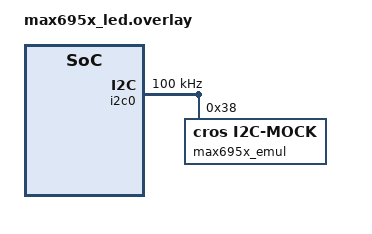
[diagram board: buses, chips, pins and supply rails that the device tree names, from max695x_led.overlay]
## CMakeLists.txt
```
# Copyright 2022 The ChromiumOS Authors
# Use of this source code is governed by a BSD-style license that can be
# found in the LICENSE file.

# Add include paths
target_include_directories(app PRIVATE
    "${PLATFORM_EC}/zephyr/shim/src/led_driver")

# Add source files
zephyr_library_sources_ifdef(CONFIG_LINK_TEST_SUITE_LED_DRIVER
    src/led_common.c
    src/led.c
    src/stubs.c
)
zephyr_library_sources_ifdef(CONFIG_LINK_TEST_SUITE_LED_DRIVER_ALIAS_LED
    src/led_alias.c
)
zephyr_library_sources_ifdef(CONFIG_LINK_TEST_SUITE_LED_DRIVER_CUSTOM
    src/led_custom.c
    src/stubs.c
)
zephyr_library_sources_ifdef(CONFIG_LINK_TEST_SUITE_LED_DRIVER_SEQUENCE
    src/led_sequence.c
    src/stubs.c
)
zephyr_library_sources_ifdef(CONFIG_LINK_TEST_SUITE_LED_DRIVER_MAX695X
    src/max695x_led_test_simple.c
    src/stubs.c
    ${PLATFORM_EC}/driver/led/max695x.c
)

# Define PORT80_I2C_ADDR for MAX695x testing
if(CONFIG_LINK_TEST_SUITE_LED_DRIVER_MAX695X)
    zephyr_compile_definitions(PORT80_I2C_ADDR=0x38)
endif()
```

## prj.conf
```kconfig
# Copyright 2026 The ChromiumOS Authors
# Use of this source code is governed by a BSD-style license that can be
# found in the LICENSE file.

# Configuration for MAX695x LED driver tests
CONFIG_PLATFORM_EC_MAX695X_SEVEN_SEGMENT_DISPLAY=y
# Console command enabled to test driver console functionality
CONFIG_PLATFORM_EC_CONSOLE_CMD_SEVEN_SEGMENT_DISPLAY=y
CONFIG_I2C=y
CONFIG_PLATFORM_EC_I2C=y
CONFIG_EMUL=y
CONFIG_I2C_EMUL=y
CONFIG_PLATFORM_EC_HOOKS=y
```

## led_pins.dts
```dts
<<<<<<< HEAD   (453fd99d5363bf9651b2fb0d3ffbbab7386a6376 program,zmake: drop cmsis references)
/* Copyright 2022 The ChromiumOS Authors
 * Use of this source code is governed by a BSD-style license that can be
 * found in the LICENSE file.
 */

 /* Based off of `ec/zephyr/program/herobrine/led_pins_herobrine.dts`
  * Modified led-colors to obtain better test coverage.
  */
/ {
	/delete-node/ pwm-led-pins;

	led_pins: gpio-led-pins {
		compatible = "cros-ec,gpio-led-pins";

		left_led: left-led {
			led-id = "EC_LED_ID_SYSRQ_DEBUG_LED";
			led-pins = <&gpio_ec_chg_led_y_c1
				    &gpio_ec_chg_led_w_c1>;

			sysrq_debug_led_off: color-off {
				led-color = "LED_OFF";
				led-values = <0 0>;
			};

			sysrq_debug_led_blue: color-blue-left {
				led-color = "LED_BLUE";
				led-values = <1 0>;
			};
			sysrq_debug_led_white: color-white-left {
				led-color = "LED_WHITE";
				led-values = <0 1>;
			};
		};

		right_led: right-led {
			led-id = "EC_LED_ID_BATTERY_LED";
			led-pins = <&gpio_ec_chg_led_y_c0
				    &gpio_ec_chg_led_w_c0>;

			battery_led_off: color-off {
				led-color = "LED_OFF";
				led-values = <0 0>;
			};
			battery_led_blue: color-blue-right {
				led-color = "LED_BLUE";
				led-values = <1 0>;
			};
			battery_led_white: color-white-right {
				led-color = "LED_WHITE";
				led-values = <0 1>;
			};
		};
	};
};
||||||| BASE   (0cb93ccd933607defa9592c423c9a9fb4946fd4d anakin: Set PDC source PDO overcurrent capability)
/* Copyright 2022 The ChromiumOS Authors
 * Use of this source code is governed by a BSD-style license that can be
 * found in the LICENSE file.
 */

 /* Based off of `ec/zephyr/program/herobrine/led_pins_herobrine.dts`
  * Modified led-colors to obtain better test coverage.
  */
/ {
	pwm-led-pins {
		status = "disabled";
	};

	gpio-led-pins {
		compatible = "cros-ec,gpio-led-pins";

		left_led: left-led {
			led-id = "EC_LED_ID_SYSRQ_DEBUG_LED";
			led-pins = <&gpio_ec_chg_led_y_c1
				    &gpio_ec_chg_led_w_c1>;

			color-off {
				led-color = "LED_OFF";
				led-values = <0 0>;
			};

			color_blue_left: color-blue-left {
				led-color = "LED_BLUE";
				led-values = <1 0>;
			};
			color_white_left: color-white-left {
				led-color = "LED_WHITE";
				led-values = <0 1>;
			};
		};

		right_led: right-led {
			led-id = "EC_LED_ID_BATTERY_LED";
			led-pins = <&gpio_ec_chg_led_y_c0
				    &gpio_ec_chg_led_w_c0>;

			color-off {
				led-color = "LED_OFF";
				led-values = <0 0>;
			};
			color_blue_right: color-blue-right {
				led-color = "LED_BLUE";
				led-values = <1 0>;
			};
			color_white_right: color-white-right {
				led-color = "LED_WHITE";
				led-values = <0 1>;
			};
		};
	};
};
=======
>>>>>>> BRANCH (86da3bbeafeffe5727f5bfec7d9eed87995f2661 UPSTREAM: driver: add new ALS CM36781 driver code)
```

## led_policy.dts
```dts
<<<<<<< HEAD   (453fd99d5363bf9651b2fb0d3ffbbab7386a6376 program,zmake: drop cmsis references)
/* Copyright 2022 The ChromiumOS Authors
 * Use of this source code is governed by a BSD-style license that can be
 * found in the LICENSE file.
 */

/* Based off of `ec/zephyr/program/brox/led_policy.dtsi`
 * Modified led-colors to obtain better test coverage.
 */

#include <dt-bindings/battery.h>

/ {
	led-colors {
		compatible = "cros-ec,led-policy";

		power-state-charge-right-with-alt-policy-1 {
			charge-state = "LED_PWRS_CHARGE";
			charge-port = <0>; /* Right port */
			batt-lvl = <BATTERY_LEVEL_EMPTY 99>;
			/* Battery is charging */
			batt-state-mask = <SB_STATUS_DISCHARGING>;
			batt-state = <0>;
			board-led-alt-policy-label = <1>;

			battery-led {
				led-id = "EC_LED_ID_BATTERY_LED";

				color-0 {
					led-color = <&battery_led_white>;
				};
			};
		};

		power-state-charge-right-with-alt-policy-0 {
			charge-state = "LED_PWRS_CHARGE";
			charge-port = <0>; /* Right port */
			batt-lvl = <BATTERY_LEVEL_EMPTY 99>;
			/* Battery is charging */
			batt-state-mask = <SB_STATUS_DISCHARGING>;
			batt-state = <0>;
			board-led-alt-policy-label = <0>;

			battery-led {
				led-id = "EC_LED_ID_BATTERY_LED";

				color-0 {
					led-color = <&battery_led_off>;
				};
			};
		};

		power-state-charge-right-full {
			charge-state = "LED_PWRS_CHARGE";
			charge-port = <0>; /* Right port */
			batt-lvl = <100 100>;
			/* Battery is charging */
			batt-state-mask = <SB_STATUS_DISCHARGING>;
			batt-state = <0>;

			battery-led {
				led-id = "EC_LED_ID_BATTERY_LED";

				color-0 {
					led-color = <&battery_led_blue>;
				};
			};
		};

		power-state-charge-left {
			charge-state = "LED_PWRS_CHARGE";
			charge-port = <1>; /* Left port */

			battery-led {
				led-id = "EC_LED_ID_BATTERY_LED";
				/* Blue 1 sec, White 1 sec */
				color-0 {
					led-color = <&battery_led_blue>;
					period-ms = <1000>;
				};
				color-1 {
					led-color = <&battery_led_white>;
					period-ms = <1000>;
				};
			};
		};

		power-state-near-full {
			charge-state = "LED_PWRS_CHARGE_NEAR_FULL";

			battery-led {
				led-id = "EC_LED_ID_BATTERY_LED";

				color-0 {
					led-color = <&battery_led_blue>;
				};
			};
		};

		power-state-discharge-valid {
			charge-state = "LED_PWRS_DISCHARGE";
			batt-lvl = <BATTERY_LEVEL_EMPTY 99>;
			/* Battery is discharging */
			batt-state-mask = <SB_STATUS_DISCHARGING>;
			batt-state = <SB_STATUS_DISCHARGING>;

			battery-led {
				led-id = "EC_LED_ID_BATTERY_LED";

				color-0 {
					led-color = <&battery_led_off>;
				};
			};
		};

		/* This policy is invalid and should never trigger*/
		power-state-discharge-invalid {
			charge-state = "LED_PWRS_DISCHARGE";
			batt-lvl = <100 100>;
			batt-state-mask = <SB_STATUS_DISCHARGING>;
			batt-state = <0>;

			battery-led {
				led-id = "EC_LED_ID_BATTERY_LED";

				color-0 {
					led-color = <&battery_led_blue>;
				};
			};
		};

		power-state-error-left-low {
			charge-state = "LED_PWRS_ERROR";
			charge-port = <1>; /* Left port */
			batt-lvl = <BATTERY_LEVEL_EMPTY BATTERY_LEVEL_LOW>;

			battery-led {
				led-id = "EC_LED_ID_BATTERY_LED";
				/* Blue 1 sec, White 1 sec */
				color-0 {
					led-color = <&battery_led_blue>;
					period-ms = <1000>;
				};
				color-1 {
					led-color = <&battery_led_white>;
					period-ms = <1000>;
				};
			};
		};

		power-state-error-left-high {
			charge-state = "LED_PWRS_ERROR";
			charge-port = <1>; /* Left port */
			batt-lvl = <(BATTERY_LEVEL_LOW + 1) BATTERY_LEVEL_FULL>;

			battery-led {
				led-id = "EC_LED_ID_BATTERY_LED";
				/* Blue 1 sec, White 1 sec */
				color-0 {
					led-color = <&battery_led_blue>;
					period-ms = <1000>;
				};
				color-1 {
					led-color = <&battery_led_white>;
					period-ms = <1000>;
				};
			};
		};

		power-state-error-right {
			charge-state = "LED_PWRS_ERROR";
			charge-port = <0>; /* Right port */
			/* Battery is charging */
			batt-state-mask = <SB_STATUS_DISCHARGING>;
			batt-state = <0>;

			battery-led {
				led-id = "EC_LED_ID_BATTERY_LED";
				/* Blue 1 sec, White 1 sec */
				color-0 {
					led-color = <&battery_led_blue>;
					period-ms = <1000>;
				};
				color-1 {
					led-color = <&battery_led_white>;
					period-ms = <1000>;
				};
			};
		};

		power-state-forced-idle {
			charge-state = "LED_PWRS_FORCED_IDLE";

			battery-led {
				led-id = "EC_LED_ID_BATTERY_LED";
				color-0 {
					led-color = <&battery_led_off>;
				};
			};
		};

		power-state-idle {
			charge-state = "LED_PWRS_IDLE";

			battery-led {
				led-id = "EC_LED_ID_BATTERY_LED";
				color-0 {
					led-color = <&battery_led_off>;
				};
			};
		};

		chipset-state-s0 {
			chipset-state = "POWER_S0";

			power-led {
				led-id = "EC_LED_ID_SYSRQ_DEBUG_LED";

				color-0 {
					led-color = <&sysrq_debug_led_blue>;
				};
			};
		};

		chipset-state-s3 {
			chipset-state = "POWER_S3";

			power-led {
				led-id = "EC_LED_ID_SYSRQ_DEBUG_LED";

				color-0 {
					led-color = <&sysrq_debug_led_white>;
				};
			};
		};

		chipset-state-s5 {
			chipset-state = "POWER_S5";

			power-led {
				led-id = "EC_LED_ID_SYSRQ_DEBUG_LED";

				color-0 {
					led-color = <&sysrq_debug_led_off>;
				};
			};
		};
	};
};
||||||| BASE   (0cb93ccd933607defa9592c423c9a9fb4946fd4d anakin: Set PDC source PDO overcurrent capability)
/* Copyright 2022 The ChromiumOS Authors
 * Use of this source code is governed by a BSD-style license that can be
 * found in the LICENSE file.
 */

/* Based off of `ec/zephyr/program/brox/led_policy.dtsi`
 * Modified led-colors to obtain better test coverage.
 */

#include <dt-bindings/battery.h>

/ {
	led-colors {
		compatible = "cros-ec,led-policy";

		power-state-charge-right-with-alt-policy-1 {
			charge-state = "LED_PWRS_CHARGE";
			charge-port = <0>; /* Right port */
			batt-lvl = <BATTERY_LEVEL_EMPTY 99>;
			/* Battery is charging */
			batt-state-mask = <SB_STATUS_DISCHARGING>;
			batt-state = <0>;
			board-led-alt-policy-label = <1>;

			battery-led {
				led-id = "EC_LED_ID_BATTERY_LED";

				color-0 {
					led-color = "LED_WHITE";
				};
			};
		};

		power-state-charge-right-with-alt-policy-0 {
			charge-state = "LED_PWRS_CHARGE";
			charge-port = <0>; /* Right port */
			batt-lvl = <BATTERY_LEVEL_EMPTY 99>;
			/* Battery is charging */
			batt-state-mask = <SB_STATUS_DISCHARGING>;
			batt-state = <0>;
			board-led-alt-policy-label = <0>;

			battery-led {
				led-id = "EC_LED_ID_BATTERY_LED";

				color-0 {
					led-color = "LED_OFF";
				};
			};
		};

		power-state-charge-right-full {
			charge-state = "LED_PWRS_CHARGE";
			charge-port = <0>; /* Right port */
			batt-lvl = <100 100>;
			/* Battery is charging */
			batt-state-mask = <SB_STATUS_DISCHARGING>;
			batt-state = <0>;

			battery-led {
				led-id = "EC_LED_ID_BATTERY_LED";

				color-0 {
					led-color = "LED_BLUE";
				};
			};
		};

		power-state-charge-left {
			charge-state = "LED_PWRS_CHARGE";
			charge-port = <1>; /* Left port */

			battery-led {
				led-id = "EC_LED_ID_BATTERY_LED";
				/* Blue 1 sec, White 1 sec */
				color-0 {
					led-color = "LED_BLUE";
					period-ms = <1000>;
				};
				color-1 {
					led-color = "LED_WHITE";
					period-ms = <1000>;
				};
			};
		};

		power-state-near-full {
			charge-state = "LED_PWRS_CHARGE_NEAR_FULL";

			battery-led {
				led-id = "EC_LED_ID_BATTERY_LED";

				color-0 {
					led-color = "LED_BLUE";
				};
			};
		};

		power-state-discharge-valid {
			charge-state = "LED_PWRS_DISCHARGE";
			batt-lvl = <BATTERY_LEVEL_EMPTY 99>;
			/* Battery is discharging */
			batt-state-mask = <SB_STATUS_DISCHARGING>;
			batt-state = <SB_STATUS_DISCHARGING>;

			battery-led {
				led-id = "EC_LED_ID_BATTERY_LED";

				color-0 {
					led-color = "LED_OFF";
				};
			};
		};

		/* This policy is invalid and should never trigger*/
		power-state-discharge-invalid {
			charge-state = "LED_PWRS_DISCHARGE";
			batt-lvl = <100 100>;
			batt-state-mask = <SB_STATUS_DISCHARGING>;
			batt-state = <0>;

			battery-led {
				led-id = "EC_LED_ID_BATTERY_LED";

				color-0 {
					led-color = "LED_BLUE";
				};
			};
		};

		power-state-error-left-low {
			charge-state = "LED_PWRS_ERROR";
			charge-port = <1>; /* Left port */
			batt-lvl = <BATTERY_LEVEL_EMPTY BATTERY_LEVEL_LOW>;

			battery-led {
				led-id = "EC_LED_ID_BATTERY_LED";
				/* Blue 1 sec, White 1 sec */
				color-0 {
					led-color = "LED_BLUE";
					period-ms = <1000>;
				};
				color-1 {
					led-color = "LED_WHITE";
					period-ms = <1000>;
				};
			};
		};

		power-state-error-left-high {
			charge-state = "LED_PWRS_ERROR";
			charge-port = <1>; /* Left port */
			batt-lvl = <(BATTERY_LEVEL_LOW + 1) BATTERY_LEVEL_FULL>;

			battery-led {
				led-id = "EC_LED_ID_BATTERY_LED";
				/* Blue 1 sec, White 1 sec */
				color-0 {
					led-color = "LED_BLUE";
					period-ms = <1000>;
				};
				color-1 {
					led-color = "LED_WHITE";
					period-ms = <1000>;
				};
			};
		};

		power-state-error-right {
			charge-state = "LED_PWRS_ERROR";
			charge-port = <0>; /* Right port */
			/* Battery is charging */
			batt-state-mask = <SB_STATUS_DISCHARGING>;
			batt-state = <0>;

			battery-led {
				led-id = "EC_LED_ID_BATTERY_LED";
				/* Blue 1 sec, White 1 sec */
				color-0 {
					led-color = "LED_BLUE";
					period-ms = <1000>;
				};
				color-1 {
					led-color = "LED_WHITE";
					period-ms = <1000>;
				};
			};
		};

		power-state-forced-idle {
			charge-state = "LED_PWRS_FORCED_IDLE";

			battery-led {
				led-id = "EC_LED_ID_BATTERY_LED";
				color-0 {
					led-color = "LED_OFF";
				};
			};
		};

		power-state-idle {
			charge-state = "LED_PWRS_IDLE";

			battery-led {
				led-id = "EC_LED_ID_BATTERY_LED";
				color-0 {
					led-color = "LED_OFF";
				};
			};
		};

		chipset-state-s0 {
			chipset-state = "POWER_S0";

			power-led {
				led-id = "EC_LED_ID_SYSRQ_DEBUG_LED";

				color-0 {
					led-color = "LED_BLUE";
				};
			};
		};

		chipset-state-s3 {
			chipset-state = "POWER_S3";

			power-led {
				led-id = "EC_LED_ID_SYSRQ_DEBUG_LED";

				color-0 {
					led-color = "LED_WHITE";
				};
			};
		};

		chipset-state-s5 {
			chipset-state = "POWER_S5";

			power-led {
				led-id = "EC_LED_ID_SYSRQ_DEBUG_LED";

				color-0 {
					led-color = "LED_OFF";
				};
			};
		};
	};
};
=======
>>>>>>> BRANCH (86da3bbeafeffe5727f5bfec7d9eed87995f2661 UPSTREAM: driver: add new ALS CM36781 driver code)
```

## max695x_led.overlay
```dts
/* Copyright 2026 The ChromiumOS Authors
 * Use of this source code is governed by a BSD-style license that can be
 * found in the LICENSE file.
 *
 * Device tree overlay for MAX695x 7-segment LED display tests
 */

/ {
	named-i2c-ports {
		compatible = "named-i2c-ports";
		i2c_port80: port80 {
			i2c-port = <&i2c0>;
			enum-names = "I2C_PORT_PORT80";
		};
	};
};

&i2c0 {
	status = "okay";
	clock-frequency = <I2C_BITRATE_STANDARD>;

	max695x_emul: max695x@38 {
		compatible = "cros,i2c-mock";
		status = "okay";
		reg = <0x38>;
	};
};
```

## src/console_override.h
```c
/* Copyright 2026 The ChromiumOS Authors
 * Use of this source code is governed by a BSD-style license that can be
 * found in the LICENSE file.
 */

/*
 * Console command signature compatibility header
 * This header provides a workaround for the signature mismatch between
 * the driver's console command function and the DECLARE_CONSOLE_COMMAND
 * macro. The driver function has: int console_command_max695x_write
 * (int argc, char **argv). But DECLARE_CONSOLE_COMMAND expects:
 * int (*)(int argc, const char **argv).
 * Override the macro to create a wrapper that handles the signature
 * mismatch.
 */

#ifndef CONSOLE_OVERRIDE_H_
#define CONSOLE_OVERRIDE_H_
/* Include the original zephyr console shim header first */
#include "zephyr_console_shim.h"

/* Save the original macro definition */
#ifdef DECLARE_CONSOLE_COMMAND
#undef DECLARE_CONSOLE_COMMAND
#endif

/*
 * Define a test-friendly version that creates a wrapper for signature
 * mismatch
 */
#define DECLARE_CONSOLE_COMMAND(NAME, ROUTINE, ARGDESC, HELP)                  \
	/* Create wrapper function to handle signature mismatch */             \
	static int _CONCAT(wrapper_, ROUTINE)(int argc, const char **argv)     \
	{                                                                      \
		/* Cast const char** to char** for old signature compatibility \
		 */                                                            \
		return ROUTINE(argc, (char **)argv);                           \
	}                                                                      \
	/* Use the wrapper in the Zephyr shell command registration */         \
	_ZEPHYR_SHELL_COMMAND_SHIM(NAME, _CONCAT(wrapper_, ROUTINE), ARGDESC,  \
				   HELP)

#endif /* CONSOLE_OVERRIDE_H_ */
```

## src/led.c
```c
<<<<<<< HEAD   (453fd99d5363bf9651b2fb0d3ffbbab7386a6376 program,zmake: drop cmsis references)
/* Copyright 2022 The ChromiumOS Authors
 * Use of this source code is governed by a BSD-style license that can be
 * found in the LICENSE file.
 */

#include "battery_smart.h"
#include "drivers/led.h"
#include "ec_commands.h"
#include "emul/emul_isl923x.h"
#include "emul/emul_smart_battery.h"
#include "emul/tcpc/emul_tcpci_partner_src.h"
#include "gpio.h"
#include "include/power.h"
#include "led_common.h"
#include "test/drivers/test_state.h"
#include "test/drivers/utils.h"
#include "usb_pd.h"

#include <zephyr/ztest.h>

#include <dt-bindings/battery.h>

#define BATTERY_NODE DT_NODELABEL(battery)

#define VERIFY_LED_COLOR(color, led_id)                                    \
	{                                                                  \
		const struct led_pins_node_t *pin_node =                   \
			led_get_node(color, led_id);                       \
		const struct gpio_pin_t *gpio_pins =                       \
			(const struct gpio_pin_t *)pin_node->pins;         \
		for (int j = 0; j < pin_node->pins_count; j++) {           \
			int val = gpio_pin_get_dt(                         \
				gpio_get_dt_spec(gpio_pins[j].signal));    \
			int expecting = gpio_pins[j].val;                  \
			zassert_equal(expecting, val, "[%d]: %d != %d", j, \
				      expecting, val);                     \
		}                                                          \
	}

ZTEST(led_driver, test_led_control)
{
	test_set_chipset_to_power_level(POWER_S5);

	/* Exercise valid led_id, set to RESET state */
	led_control(EC_LED_ID_SYSRQ_DEBUG_LED, LED_STATE_RESET);
	VERIFY_LED_COLOR(LED_OFF, EC_LED_ID_SYSRQ_DEBUG_LED);

	/* Exercise valid led_id, set to OFF state.
	 * Verify matches OFF color defined in device tree
	 */
	led_control(EC_LED_ID_SYSRQ_DEBUG_LED, LED_STATE_OFF);
	VERIFY_LED_COLOR(LED_OFF, EC_LED_ID_SYSRQ_DEBUG_LED);

	/* Exercise valid led_id, set to ON state.
	 * Verify matches ON color defined in device tree
	 */
	led_control(EC_LED_ID_SYSRQ_DEBUG_LED, LED_STATE_ON);
	VERIFY_LED_COLOR(LED_BLUE, EC_LED_ID_SYSRQ_DEBUG_LED);

	/* Exercise invalid led_id -- no change to led color */
	led_control(EC_LED_ID_LEFT_LED, LED_STATE_RESET);
	VERIFY_LED_COLOR(LED_BLUE, EC_LED_ID_SYSRQ_DEBUG_LED);
}

ZTEST(led_driver, test_led_brightness)
{
	uint8_t brightness[EC_LED_COLOR_COUNT] = { -1 };

	/* Verify LED set to OFF */
	led_set_brightness(EC_LED_ID_SYSRQ_DEBUG_LED, brightness);
	VERIFY_LED_COLOR(LED_OFF, EC_LED_ID_SYSRQ_DEBUG_LED);

	/* Verify LED colors defined in device tree are reflected in the
	 * brightness array.
	 */
	led_get_brightness_range(EC_LED_ID_SYSRQ_DEBUG_LED, brightness);
	zassert_equal(brightness[EC_LED_COLOR_BLUE], 1);
	zassert_equal(brightness[EC_LED_COLOR_WHITE], 1);

	/* Verify LED set to WHITE */
	led_set_brightness(EC_LED_ID_SYSRQ_DEBUG_LED, brightness);
	VERIFY_LED_COLOR(LED_WHITE, EC_LED_ID_SYSRQ_DEBUG_LED);
}

ZTEST(led_driver, test_get_chipset_state)
{
	enum power_state pwr_state;

	test_set_chipset_to_g3();
	pwr_state = get_chipset_state();
	zassert_equal(pwr_state, POWER_S5, "expected=%d, returned=%d", POWER_S5,
		      pwr_state);

	test_set_chipset_to_s0();
	pwr_state = get_chipset_state();
	zassert_equal(pwr_state, POWER_S0, "expected=%d, returned=%d", POWER_S0,
		      pwr_state);

	test_set_chipset_to_power_level(POWER_S3);
	pwr_state = get_chipset_state();
	zassert_equal(pwr_state, POWER_S3, "expected=%d, returned=%d", POWER_S3,
		      pwr_state);
}

ZTEST(led_driver, test_separated_led_policies)
{
	led_auto_control(EC_LED_ID_SYSRQ_DEBUG_LED, 1);
	led_auto_control(EC_LED_ID_BATTERY_LED, 1);

	set_ac_enabled(false);
	test_set_chipset_to_power_level(POWER_S0);
	VERIFY_LED_COLOR(LED_BLUE, EC_LED_ID_SYSRQ_DEBUG_LED);
	VERIFY_LED_COLOR(LED_OFF, EC_LED_ID_BATTERY_LED);

	test_set_chipset_to_power_level(POWER_S3);
	VERIFY_LED_COLOR(LED_WHITE, EC_LED_ID_SYSRQ_DEBUG_LED);
	VERIFY_LED_COLOR(LED_OFF, EC_LED_ID_BATTERY_LED);

	test_set_chipset_to_power_level(POWER_S5);
	VERIFY_LED_COLOR(LED_OFF, EC_LED_ID_SYSRQ_DEBUG_LED);
	VERIFY_LED_COLOR(LED_OFF, EC_LED_ID_BATTERY_LED);

	set_ac_enabled(true);
	test_set_chipset_to_power_level(POWER_S0);
	VERIFY_LED_COLOR(LED_BLUE, EC_LED_ID_SYSRQ_DEBUG_LED);
	VERIFY_LED_COLOR(LED_WHITE, EC_LED_ID_BATTERY_LED);

	test_set_chipset_to_power_level(POWER_S3);
	VERIFY_LED_COLOR(LED_WHITE, EC_LED_ID_SYSRQ_DEBUG_LED);
	VERIFY_LED_COLOR(LED_WHITE, EC_LED_ID_BATTERY_LED);

	test_set_chipset_to_power_level(POWER_S5);
	VERIFY_LED_COLOR(LED_OFF, EC_LED_ID_SYSRQ_DEBUG_LED);
	VERIFY_LED_COLOR(LED_WHITE, EC_LED_ID_BATTERY_LED);
}

struct led_driver_fixture {
	struct tcpci_partner_data source_20v_3a;
	struct tcpci_src_emul_data src_ext;
	const struct emul *tcpci_emul;
	const struct emul *charger_emul;
};

static inline void connect_charger_to_port(struct led_driver_fixture *fixture)
{
	set_ac_enabled(true);
	zassert_ok(tcpci_partner_connect_to_tcpci(&fixture->source_20v_3a,
						  fixture->tcpci_emul),
		   NULL);
	isl923x_emul_set_adc_vbus(fixture->charger_emul,
				  PDO_FIXED_VOLTAGE(fixture->src_ext.pdo[1]));
	k_sleep(K_SECONDS(10));
}

static inline void
disconnect_charger_from_port(struct led_driver_fixture *fixture)
{
	set_ac_enabled(false);
	zassert_ok(tcpci_emul_disconnect_partner(fixture->tcpci_emul));
	isl923x_emul_set_adc_vbus(fixture->charger_emul, 0);
	k_sleep(K_SECONDS(1));
}

static void *led_driver_setup(void)
{
	static struct led_driver_fixture fixture;

	/* Get references for the emulators */
	fixture.tcpci_emul = EMUL_GET_USBC_BINDING(0, tcpc);
	fixture.charger_emul = EMUL_GET_USBC_BINDING(0, chg);

	/* Initialized the source to supply 20V and 3A */
	tcpci_partner_init(&fixture.source_20v_3a, PD_REV20);
	fixture.source_20v_3a.extensions = tcpci_src_emul_init(
		&fixture.src_ext, &fixture.source_20v_3a, NULL);
	fixture.src_ext.pdo[1] =
		PDO_FIXED(20000, 3000, PDO_FIXED_UNCONSTRAINED);

	return &fixture;
}

static void led_driver_before(void *data)
{
	connect_charger_to_port((struct led_driver_fixture *)data);
}

static void led_driver_after(void *data)
{
	disconnect_charger_from_port((struct led_driver_fixture *)data);
}

ZTEST_SUITE(led_driver, drivers_predicate_post_main, led_driver_setup,
	    led_driver_before, led_driver_after, NULL);

ZTEST(led_driver, test_get_battery_state)
{
	const struct emul *emul = EMUL_DT_GET(BATTERY_NODE);
	uint16_t battery_status;

	zassert_ok(sbat_emul_get_word_val(emul, SB_BATTERY_STATUS,
					  &battery_status),
		   NULL);
	zassert_equal(battery_status & SB_STATUS_DISCHARGING, 0,
		      "Battery is discharging: %d", battery_status);
}
||||||| BASE   (0cb93ccd933607defa9592c423c9a9fb4946fd4d anakin: Set PDC source PDO overcurrent capability)
/* Copyright 2022 The ChromiumOS Authors
 * Use of this source code is governed by a BSD-style license that can be
 * found in the LICENSE file.
 */

#include "battery_smart.h"
#include "ec_commands.h"
#include "emul/emul_isl923x.h"
#include "emul/emul_smart_battery.h"
#include "emul/tcpc/emul_tcpci_partner_src.h"
#include "gpio.h"
#include "include/power.h"
#include "led.h"
#include "led_common.h"
#include "test/drivers/test_state.h"
#include "test/drivers/utils.h"
#include "usb_pd.h"

#include <zephyr/ztest.h>

#include <dt-bindings/battery.h>

#define BATTERY_NODE DT_NODELABEL(battery)

#define VERIFY_LED_COLOR(color, led_id)                                    \
	{                                                                  \
		const struct led_pins_node_t *pin_node =                   \
			led_get_node(color, led_id);                       \
		for (int j = 0; j < pin_node->pins_count; j++) {           \
			int val = gpio_pin_get_dt(gpio_get_dt_spec(        \
				pin_node->gpio_pins[j].signal));           \
			int expecting = pin_node->gpio_pins[j].val;        \
			zassert_equal(expecting, val, "[%d]: %d != %d", j, \
				      expecting, val);                     \
		}                                                          \
	}

ZTEST(led_driver, test_led_control)
{
	test_set_chipset_to_power_level(POWER_S5);

	/* Exercise valid led_id, set to RESET state */
	led_control(EC_LED_ID_SYSRQ_DEBUG_LED, LED_STATE_RESET);
	VERIFY_LED_COLOR(LED_OFF, EC_LED_ID_SYSRQ_DEBUG_LED);

	/* Exercise valid led_id, set to OFF state.
	 * Verify matches OFF color defined in device tree
	 */
	led_control(EC_LED_ID_SYSRQ_DEBUG_LED, LED_STATE_OFF);
	VERIFY_LED_COLOR(LED_OFF, EC_LED_ID_SYSRQ_DEBUG_LED);

	/* Exercise valid led_id, set to ON state.
	 * Verify matches ON color defined in device tree
	 */
	led_control(EC_LED_ID_SYSRQ_DEBUG_LED, LED_STATE_ON);
	VERIFY_LED_COLOR(LED_BLUE, EC_LED_ID_SYSRQ_DEBUG_LED);

	/* Exercise invalid led_id -- no change to led color */
	led_control(EC_LED_ID_LEFT_LED, LED_STATE_RESET);
	VERIFY_LED_COLOR(LED_BLUE, EC_LED_ID_SYSRQ_DEBUG_LED);
}

ZTEST(led_driver, test_led_brightness)
{
	uint8_t brightness[EC_LED_COLOR_COUNT] = { -1 };

	/* Verify LED set to OFF */
	led_set_brightness(EC_LED_ID_SYSRQ_DEBUG_LED, brightness);
	VERIFY_LED_COLOR(LED_OFF, EC_LED_ID_SYSRQ_DEBUG_LED);

	/* Verify LED colors defined in device tree are reflected in the
	 * brightness array.
	 */
	led_get_brightness_range(EC_LED_ID_SYSRQ_DEBUG_LED, brightness);
	zassert_equal(brightness[EC_LED_COLOR_BLUE], 1);
	zassert_equal(brightness[EC_LED_COLOR_WHITE], 1);

	/* Verify LED set to WHITE */
	led_set_brightness(EC_LED_ID_SYSRQ_DEBUG_LED, brightness);
	VERIFY_LED_COLOR(LED_WHITE, EC_LED_ID_SYSRQ_DEBUG_LED);
}

ZTEST(led_driver, test_get_chipset_state)
{
	enum power_state pwr_state;

	test_set_chipset_to_g3();
	pwr_state = get_chipset_state();
	zassert_equal(pwr_state, POWER_S5, "expected=%d, returned=%d", POWER_S5,
		      pwr_state);

	test_set_chipset_to_s0();
	pwr_state = get_chipset_state();
	zassert_equal(pwr_state, POWER_S0, "expected=%d, returned=%d", POWER_S0,
		      pwr_state);

	test_set_chipset_to_power_level(POWER_S3);
	pwr_state = get_chipset_state();
	zassert_equal(pwr_state, POWER_S3, "expected=%d, returned=%d", POWER_S3,
		      pwr_state);
}

ZTEST(led_driver, test_separated_led_policies)
{
	led_auto_control(EC_LED_ID_SYSRQ_DEBUG_LED, 1);
	led_auto_control(EC_LED_ID_BATTERY_LED, 1);

	set_ac_enabled(false);
	test_set_chipset_to_power_level(POWER_S0);
	VERIFY_LED_COLOR(LED_BLUE, EC_LED_ID_SYSRQ_DEBUG_LED);
	VERIFY_LED_COLOR(LED_OFF, EC_LED_ID_BATTERY_LED);

	test_set_chipset_to_power_level(POWER_S3);
	VERIFY_LED_COLOR(LED_WHITE, EC_LED_ID_SYSRQ_DEBUG_LED);
	VERIFY_LED_COLOR(LED_OFF, EC_LED_ID_BATTERY_LED);

	test_set_chipset_to_power_level(POWER_S5);
	VERIFY_LED_COLOR(LED_OFF, EC_LED_ID_SYSRQ_DEBUG_LED);
	VERIFY_LED_COLOR(LED_OFF, EC_LED_ID_BATTERY_LED);

	set_ac_enabled(true);
	test_set_chipset_to_power_level(POWER_S0);
	VERIFY_LED_COLOR(LED_BLUE, EC_LED_ID_SYSRQ_DEBUG_LED);
	VERIFY_LED_COLOR(LED_WHITE, EC_LED_ID_BATTERY_LED);

	test_set_chipset_to_power_level(POWER_S3);
	VERIFY_LED_COLOR(LED_WHITE, EC_LED_ID_SYSRQ_DEBUG_LED);
	VERIFY_LED_COLOR(LED_WHITE, EC_LED_ID_BATTERY_LED);

	test_set_chipset_to_power_level(POWER_S5);
	VERIFY_LED_COLOR(LED_OFF, EC_LED_ID_SYSRQ_DEBUG_LED);
	VERIFY_LED_COLOR(LED_WHITE, EC_LED_ID_BATTERY_LED);
}

struct led_driver_fixture {
	struct tcpci_partner_data source_20v_3a;
	struct tcpci_src_emul_data src_ext;
	const struct emul *tcpci_emul;
	const struct emul *charger_emul;
};

static inline void connect_charger_to_port(struct led_driver_fixture *fixture)
{
	set_ac_enabled(true);
	zassert_ok(tcpci_partner_connect_to_tcpci(&fixture->source_20v_3a,
						  fixture->tcpci_emul),
		   NULL);
	isl923x_emul_set_adc_vbus(fixture->charger_emul,
				  PDO_FIXED_VOLTAGE(fixture->src_ext.pdo[1]));
	k_sleep(K_SECONDS(10));
}

static inline void
disconnect_charger_from_port(struct led_driver_fixture *fixture)
{
	set_ac_enabled(false);
	zassert_ok(tcpci_emul_disconnect_partner(fixture->tcpci_emul));
	isl923x_emul_set_adc_vbus(fixture->charger_emul, 0);
	k_sleep(K_SECONDS(1));
}

static void *led_driver_setup(void)
{
	static struct led_driver_fixture fixture;

	/* Get references for the emulators */
	fixture.tcpci_emul = EMUL_GET_USBC_BINDING(0, tcpc);
	fixture.charger_emul = EMUL_GET_USBC_BINDING(0, chg);

	/* Initialized the source to supply 20V and 3A */
	tcpci_partner_init(&fixture.source_20v_3a, PD_REV20);
	fixture.source_20v_3a.extensions = tcpci_src_emul_init(
		&fixture.src_ext, &fixture.source_20v_3a, NULL);
	fixture.src_ext.pdo[1] =
		PDO_FIXED(20000, 3000, PDO_FIXED_UNCONSTRAINED);

	return &fixture;
}

static void led_driver_before(void *data)
{
	connect_charger_to_port((struct led_driver_fixture *)data);
}

static void led_driver_after(void *data)
{
	disconnect_charger_from_port((struct led_driver_fixture *)data);
}

ZTEST_SUITE(led_driver, drivers_predicate_post_main, led_driver_setup,
	    led_driver_before, led_driver_after, NULL);

ZTEST(led_driver, test_get_battery_state)
{
	const struct emul *emul = EMUL_DT_GET(BATTERY_NODE);
	uint16_t battery_status;

	zassert_ok(sbat_emul_get_word_val(emul, SB_BATTERY_STATUS,
					  &battery_status),
		   NULL);
	zassert_equal(battery_status & SB_STATUS_DISCHARGING, 0,
		      "Battery is discharging: %d", battery_status);
}
=======
>>>>>>> BRANCH (86da3bbeafeffe5727f5bfec7d9eed87995f2661 UPSTREAM: driver: add new ALS CM36781 driver code)
```

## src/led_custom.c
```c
/* Copyright 2026 The ChromiumOS Authors
 * Use of this source code is governed by a BSD-style license that can be
 * found in the LICENSE file.
 */

#include "drivers/led.h"
#include "gpio.h"
#include "hooks.h"
#include "led_common.h"
#include "test/drivers/test_state.h"
#include "test/drivers/utils.h"

#include <zephyr/ztest.h>

extern uint32_t led_test_apply_count;

void set_board_led_alt_policy(int label);

static void *led_custom_setup(void)
{
	/* Allow init time to settle */
	k_sleep(K_MSEC(1000));

	return NULL;
}

static bool is_blue_on(void)
{
	return gpio_pin_get_dt(GPIO_DT_FROM_NODELABEL(gpio_ec_chg_led_y_c0));
}

static bool is_white_on(void)
{
	return gpio_pin_get_dt(GPIO_DT_FROM_NODELABEL(gpio_ec_chg_led_w_c0));
}

static bool is_off(void)
{
	return !is_blue_on() && !is_white_on();
}

static void led_custom_before(void *data)
{
	/* Reset to a known state (White) */
	set_board_led_alt_policy(1);
	led_control(EC_LED_ID_BATTERY_LED, LED_STATE_RESET);
	led_set_custom_patterns(NULL);
	led_test_apply_count = 0;

	/* Run one tick to apply the reset state */
	hook_notify(HOOK_TICK);
	k_sleep(K_MSEC(30));
	zassert_true(is_white_on(), "Setup failed: LED should be White");
}

ZTEST_SUITE(led_driver_custom, drivers_predicate_post_main, led_custom_setup,
	    led_custom_before, NULL, NULL);

/*
 * Test that a custom pattern overrides the standard policy immediately.
 */
ZTEST(led_driver_custom, test_custom_override)
{
	/* Define a custom pattern: Solid Blue, infinite */
	const struct led_pins_node_t *blue_node =
		led_get_node(LED_BLUE, EC_LED_ID_BATTERY_LED);
	zassert_not_null(blue_node, "Could not find Blue node for Battery LED");

	struct pattern_color_node_t color_step = {
		.color_idx = blue_node->color_idx,
		.duration_ms = 1000,
	};

	struct led_pattern_node_t pattern = {
		.led_id = EC_LED_ID_BATTERY_LED,
		.pattern_color = &color_step,
		.pattern_len = 1,
		.cycle_limit = 0, /* Infinite */
		.transition = LED_TRANSITION_STEP,
	};

	struct custom_led_patterns_t custom = {
		.led_patterns = &pattern,
		.num_patterns = 1,
		.led_id = EC_LED_ID_BATTERY_LED,
	};

	/* Apply custom pattern */
	led_set_custom_patterns(&custom);

	/* Allow worker to run */
	k_sleep(K_MSEC(30));

	/* Verify Blue (Custom) overrides White (Policy) */
	zassert_true(is_blue_on(), "Custom pattern did not take effect");
	zassert_false(is_white_on(), "Standard policy should be skipped");

	/* Clear custom pattern */
	led_set_custom_patterns(NULL);

	/* Allow worker to run */
	k_sleep(K_MSEC(30));

	/* Verify return to White */
	zassert_true(is_white_on(), "Should revert to standard policy");
}

/*
 * Test auto reversion after cycle limit.
 */
ZTEST(led_driver_custom, test_custom_auto_revert)
{
	const struct led_pins_node_t *blue_node =
		led_get_node(LED_BLUE, EC_LED_ID_BATTERY_LED);
	const struct led_pins_node_t *off_node =
		led_get_node(LED_OFF, EC_LED_ID_BATTERY_LED);

	struct pattern_color_node_t steps[] = {
		{ .color_idx = blue_node->color_idx, .duration_ms = 100 },
		{ .color_idx = off_node->color_idx, .duration_ms = 100 },
	};

	struct led_pattern_node_t pattern = {
		.led_id = EC_LED_ID_BATTERY_LED,
		.pattern_color = steps,
		.pattern_len = 2,
		.cycle_limit = 1, /* Run once then stop */
		.transition = LED_TRANSITION_STEP,
	};

	struct custom_led_patterns_t custom = {
		.led_patterns = &pattern,
		.num_patterns = 1,
		.led_id = EC_LED_ID_BATTERY_LED,
	};

	/* Apply custom pattern */
	led_set_custom_patterns(&custom);

	/* T=0-100ms: Blue */
	k_sleep(K_MSEC(30));
	zassert_true(is_blue_on(), "Custom pattern step 1 (Blue) failed");

	/* T=100-200ms: Off */
	k_sleep(K_MSEC(100));
	zassert_true(is_off(), "Custom pattern step 2 (Off) failed");

	/* T>200ms: Finished. Should revert to standard policy (White) */
	k_sleep(K_MSEC(130));

	zassert_true(is_white_on(), "Did not revert to standard policy");
}

/*
 * Test that a custom pattern for an LED not managed by the driver is ignored.
 */
ZTEST(led_driver_custom, test_custom_unsupported_led)
{
	const struct led_pins_node_t *blue_node =
		led_get_node(LED_BLUE, EC_LED_ID_BATTERY_LED);

	struct pattern_color_node_t color_step = {
		.color_idx = blue_node->color_idx,
		.duration_ms = 1000,
	};

	struct led_pattern_node_t pattern = {
		.pattern_color = &color_step,
		.pattern_len = 1,
		.cycle_limit = 0,
		.transition = LED_TRANSITION_STEP,
	};

	struct custom_led_patterns_t custom = {
		.led_id = EC_LED_ID_POWER_LED,
		.led_patterns = &pattern,
		.num_patterns = 1,
		.led_id = EC_LED_ID_POWER_LED, /* Unsupported LED */
	};

	/* Apply custom pattern */
	led_set_custom_patterns(&custom);

	/* Trigger Tick */
	hook_notify(HOOK_TICK);
	k_sleep(K_MSEC(30));

	/*
	 * If the mask check failed (bug), the driver would execute the pattern
	 * using blue_node (which points to Battery LED pins) and turn it Blue.
	 * If the mask check works (correct), the pattern is skipped, and
	 * standard policy (White) remains.
	 */
	zassert_true(is_white_on(), "Standard policy should remain active");
}

/*
 * Test that manual control.
 */
ZTEST(led_driver_custom, test_manual_control)
{
	/* Initialize the LED to the OFF state. */
	set_board_led_alt_policy(7);
	hook_notify(HOOK_TICK);
	k_sleep(K_MSEC(30));

	zassert_true(is_off(), "LED intially should be in the off state");

	const struct led_pins_node_t *blue_node =
		led_get_node(LED_BLUE, EC_LED_ID_BATTERY_LED);
	const struct led_pins_node_t *white_node =
		led_get_node(LED_WHITE, EC_LED_ID_BATTERY_LED);

	/* Define custom pattern: Blue (500ms) -> White (500ms) */
	struct pattern_color_node_t steps[] = {
		{ .color_idx = blue_node->color_idx, .duration_ms = 500 },
		{ .color_idx = white_node->color_idx, .duration_ms = 500 },
	};
	struct led_pattern_node_t pattern = {

		.pattern_color = steps,
		.pattern_len = 2,
		.cycle_limit = 0,
		.transition = LED_TRANSITION_STEP,
	};
	struct custom_led_patterns_t custom = {
		.led_id = EC_LED_ID_BATTERY_LED,
		.led_patterns = &pattern,
		.num_patterns = 1,
		.led_id = EC_LED_ID_BATTERY_LED,
	};

	/* Apply custom pattern */
	led_set_custom_patterns(&custom);
	k_sleep(K_MSEC(30));
	zassert_true(is_blue_on(), "Custom pattern step 1 (Blue) failed");

	/* Disable Auto Control */
	led_auto_control(EC_LED_ID_BATTERY_LED, 0);

	/*
	 * Wait long enough that we WOULD have transitioned to White
	 * if auto control were on (>500ms).
	 */
	k_sleep(K_MSEC(600));
	/* Trigger tick to allow driver to (not) run */
	hook_notify(HOOK_TICK);

	/*
	 * Verify LED is still Blue. The driver should not have updated the
	 * hardware to White because auto-control was off.
	 */
	zassert_true(is_blue_on(),
		     "LED should hold Step 1 while auto-control is off");
	zassert_false(is_white_on(),
		      "LED should not have advanced to White (Step 2)");

	/* Re-enable auto control */
	led_auto_control(EC_LED_ID_BATTERY_LED, 1);
	hook_notify(HOOK_TICK);
	k_sleep(K_MSEC(30));

	/*
	 * Verify LED pattern reverts to OFF with auto-control back on.
	 */
	zassert_true(
		is_off(),
		"LED should revert to the off state after auto-control is re-enabled");
}

/*
 * Test system state preemption.
 */
ZTEST(led_driver_custom, test_system_state_preemption)
{
	const struct led_pins_node_t *blue_node =
		led_get_node(LED_BLUE, EC_LED_ID_BATTERY_LED);

	struct pattern_color_node_t color_step = {
		.color_idx = blue_node->color_idx,
		.duration_ms = 5000,
	};

	struct led_pattern_node_t pattern = {
		.led_id = EC_LED_ID_BATTERY_LED,
		.pattern_color = &color_step,
		.pattern_len = 1,
		.cycle_limit = 0, /* Infinite */
		.transition = LED_TRANSITION_STEP,
	};

	struct custom_led_patterns_t custom = {
		.led_patterns = &pattern,
		.num_patterns = 1,
		.led_id = EC_LED_ID_BATTERY_LED,
	};

	/* Apply custom pattern (Blue) */
	led_set_custom_patterns(&custom);
	k_sleep(K_MSEC(30));
	zassert_true(is_blue_on(), "Custom pattern not active");

	/* Change system state to trigger a new policy (Off) */
	set_board_led_alt_policy(7);

	/*
	 * Trigger the tick. match_node should detect the state change,
	 * see the new policy (Off) becoming active, and cancel the custom
	 * pattern.
	 */
	hook_notify(HOOK_TICK);
	k_sleep(K_MSEC(30));

	/* Verify Custom Pattern was cancelled and new policy is active */
	zassert_true(is_off(), "Custom pattern should be preempted");
}

/*
 * Test that standard policy resets cleanly when custom pattern is cleared.
 */
ZTEST(led_driver_custom, test_resume_resets_policy)
{
	/* Set Standard Policy to Infinite Blink (Blue 500ms, White 500ms) */
	set_board_led_alt_policy(2);
	led_control(EC_LED_ID_BATTERY_LED, LED_STATE_RESET);
	led_set_custom_patterns(NULL);

	/* Tick to start */
	hook_notify(HOOK_TICK);
	k_sleep(K_MSEC(30));
	zassert_true(is_blue_on(), "Standard policy should start Blue");

	/* Advance time into the second half of the cycle (White) */
	/* 500ms Blue -> 500ms White. Wait 600ms total. */
	k_sleep(K_MSEC(600));
	zassert_true(is_white_on(), "Standard policy should be White");

	/* Set Custom Pattern (Solid Off) */
	const struct led_pins_node_t *off_node =
		led_get_node(LED_OFF, EC_LED_ID_BATTERY_LED);
	struct pattern_color_node_t color_step = {
		.color_idx = off_node->color_idx,
		.duration_ms = 1000,
	};
	struct led_pattern_node_t pattern = {
		.led_id = EC_LED_ID_BATTERY_LED,
		.pattern_color = &color_step,
		.pattern_len = 1,
		.cycle_limit = 0,
		.transition = LED_TRANSITION_STEP,
	};
	struct custom_led_patterns_t custom = {
		.led_patterns = &pattern,
		.num_patterns = 1,
		.led_id = EC_LED_ID_BATTERY_LED,
	};

	led_set_custom_patterns(&custom);
	k_sleep(K_MSEC(30));
	zassert_true(is_off(), "Custom pattern (Off) active");

	/* Clear Custom Pattern */
	led_set_custom_patterns(NULL);
	k_sleep(K_MSEC(30));

	/* Verify Standard Policy restarted from beginning (Blue) */
	zassert_true(is_blue_on(), "Standard policy should reset to Blue");
}

/*
 * Test that system steady-state does not preempt custom pattern.
 */
ZTEST(led_driver_custom, test_steady_state_persistence)
{
	const struct led_pins_node_t *blue_node =
		led_get_node(LED_BLUE, EC_LED_ID_BATTERY_LED);

	struct pattern_color_node_t color_step = {
		.color_idx = blue_node->color_idx,
		.duration_ms = 5000,
	};

	struct led_pattern_node_t pattern = {
		.led_id = EC_LED_ID_BATTERY_LED,
		.pattern_color = &color_step,
		.pattern_len = 1,
		.cycle_limit = 0,
		.transition = LED_TRANSITION_STEP,
	};

	struct custom_led_patterns_t custom = {
		.led_patterns = &pattern,
		.num_patterns = 1,
		.led_id = EC_LED_ID_BATTERY_LED,
	};

	/* Trigger a policy and settle its state */
	set_board_led_alt_policy(7);
	hook_notify(HOOK_TICK);
	k_sleep(K_MSEC(30));

	/* Apply custom pattern (Blue) */
	led_set_custom_patterns(&custom);
	k_sleep(K_MSEC(30));
	zassert_true(is_blue_on());

	/* Trigger tick without changing system state */
	hook_notify(HOOK_TICK);
	k_sleep(K_MSEC(30));

	/* Verify Custom Pattern is still active */
	zassert_true(is_blue_on(), "Custom pattern should persist");
	zassert_false(is_white_on(), "Standard policy should not override");
}

/*
 * Test replacing one active custom pattern with another.
 */
ZTEST(led_driver_custom, test_custom_replace_custom)
{
	set_board_led_alt_policy(7);
	hook_notify(HOOK_TICK);
	k_sleep(K_MSEC(30));
	zassert_true(is_off(), "Base policy should be Off");

	const struct led_pins_node_t *blue_node =
		led_get_node(LED_BLUE, EC_LED_ID_BATTERY_LED);
	const struct led_pins_node_t *white_node =
		led_get_node(LED_WHITE, EC_LED_ID_BATTERY_LED);

	/* Define Pattern 1: Solid Blue */
	struct pattern_color_node_t color_step_1 = {
		.color_idx = blue_node->color_idx,
		.duration_ms = 1000,
	};
	struct led_pattern_node_t pattern_1 = {
		.led_id = EC_LED_ID_BATTERY_LED,
		.pattern_color = &color_step_1,
		.pattern_len = 1,
		.cycle_limit = 0,
		.transition = LED_TRANSITION_STEP,
	};
	struct custom_led_patterns_t custom_1 = {
		.led_patterns = &pattern_1,
		.num_patterns = 1,
		.led_id = EC_LED_ID_BATTERY_LED,
	};

	/* Define Pattern 2: Solid White */
	struct pattern_color_node_t color_step_2 = {
		.color_idx = white_node->color_idx,
		.duration_ms = 1000,
	};
	struct led_pattern_node_t pattern_2 = {
		.led_id = EC_LED_ID_BATTERY_LED,
		.pattern_color = &color_step_2,
		.pattern_len = 1,
		.cycle_limit = 0,
		.transition = LED_TRANSITION_STEP,
	};
	struct custom_led_patterns_t custom_2 = {
		.led_patterns = &pattern_2,
		.num_patterns = 1,
		.led_id = EC_LED_ID_BATTERY_LED,
	};

	/* Apply Custom 1 (Blue) */
	led_set_custom_patterns(&custom_1);
	k_sleep(K_MSEC(30));
	zassert_true(is_blue_on(), "Custom 1 failed");

	/* Apply Custom 2 (White) immediately */
	led_set_custom_patterns(&custom_2);
	k_sleep(K_MSEC(30));
	zassert_true(is_white_on(), "Custom 2 failed to replace Custom 1");

	/* Clear */
	led_set_custom_patterns(NULL);
	k_sleep(K_MSEC(30));
	zassert_true(is_off(), "Failed to clear custom pattern");
}
```

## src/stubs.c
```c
<<<<<<< HEAD   (453fd99d5363bf9651b2fb0d3ffbbab7386a6376 program,zmake: drop cmsis references)
// Copyright 2025 The ChromiumOS Authors
// Use of this source code is governed by a BSD-style license that can be
// found in the LICENSE file.

#include "drivers/led.h"
#include "ec_commands.h"
#include "led_common.h"

__override int board_led_alt_policy(void)
{
	return 1;
}
||||||| BASE   (0cb93ccd933607defa9592c423c9a9fb4946fd4d anakin: Set PDC source PDO overcurrent capability)
// Copyright 2025 The ChromiumOS Authors
// Use of this source code is governed by a BSD-style license that can be
// found in the LICENSE file.

#include "ec_commands.h"
#include "led.h"
#include "led_common.h"

__override int board_led_alt_policy(void)
{
	return 1;
}
=======
>>>>>>> BRANCH (86da3bbeafeffe5727f5bfec7d9eed87995f2661 UPSTREAM: driver: add new ALS CM36781 driver code)
```
